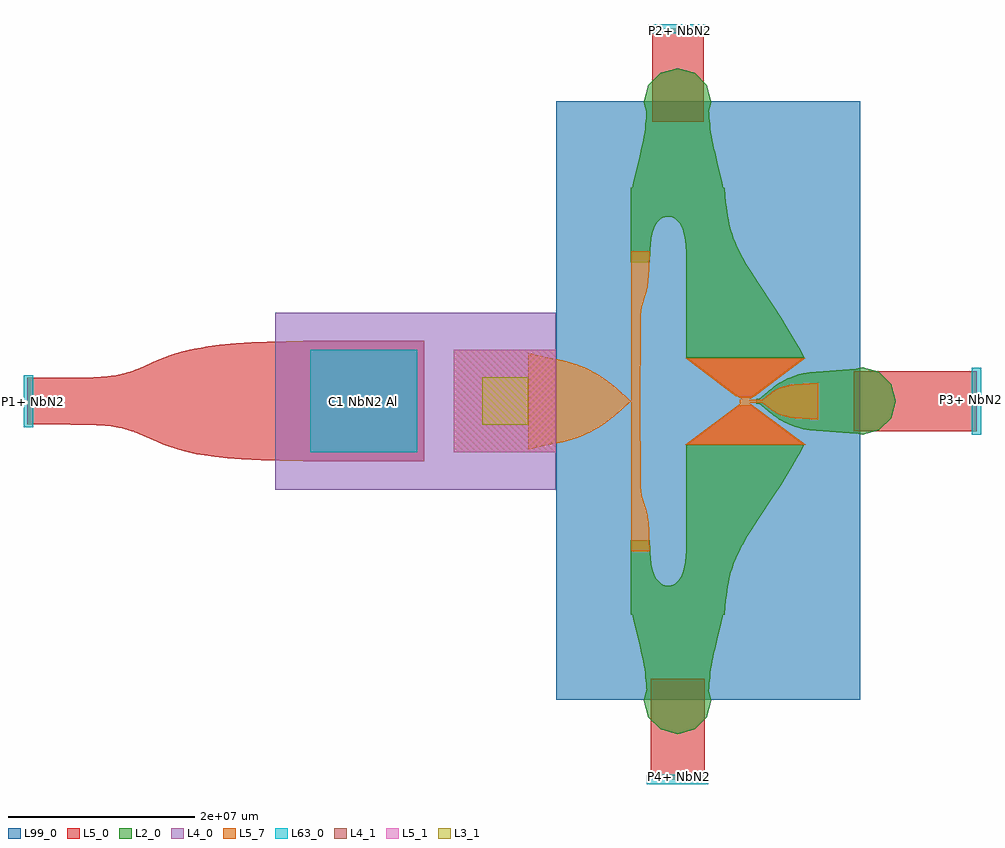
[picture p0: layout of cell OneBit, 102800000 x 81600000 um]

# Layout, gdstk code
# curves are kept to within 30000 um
from math import pi, radians
import gdstk
lib = gdstk.Library(unit=1e-6, precision=1e-06)
def R(c, l, rs):  # rectangles x0, y0, x1, y1
    for r in rs: c.add(gdstk.rectangle(r[:2], r[2:], *l))
def P(c, l, *ps):  # polygons
    for p in ps: c.add(gdstk.Polygon(p, *l))
L2_0 = (2, 0)
L3_1 = (3, 1)
L4_0 = (4, 0)
L4_1 = (4, 1)
L5_0 = (5, 0)
L5_1 = (5, 1)
L5_7 = (5, 7)
L63_0 = (63, 0)
L99_0 = (99, 0)

optimal_step_2_1 = lib.new_cell('Optimal$Step$2$1')
P(optimal_step_2_1, L2_0, [(0,0),(18257000,0),(18257000,12677000),(16784000,11874000),(14878000,10745000),(8248000,6462000),(6502000,5530000),(4957000,4919000),(3477000,4535000),(2104000,4316000),(0,4136000)])

opt_deg_turn_1 = lib.new_cell('opt_deg_turn_1')
P(opt_deg_turn_1, L2_0, [(-4000000,-4000000),(-1972000,-4000000),(-1919000,-2622000),(-1829000,-1681000),(-1703000,-983000),(-1487000,-309000),(-1127000,301000),(-782000,626000),(-355000,832000),(80000,880000),(541000,764000),(936000,502000),(1244000,143000),(1559000,-492000),(1745000,-1176000),(1854000,-1876000),(1972000,-4000000),(4000000,-4000000),(4000000,4000000),(-4000000,4000000)])

circle = lib.new_cell('circle')
P(circle, L2_0, [(3623000,0),(3138000,1811000),(1812000,3138000),(0,3623000),(-1811000,3138000),(-3138000,1811000),(-3623000,0),(-3138000,-1812000),(-1812000,-3138000),(0,-3623000),(1812000,-3138000),(3138000,-1812000)])

opt_17 = lib.new_cell('opt_17')
P(opt_17, L2_0, [(8785000,-4875000),(8785000,4875000),(7500000,4629000),(4493000,3892000),(3197000,3632000),(1907000,3463000),(0,3331000),(0,-3331000),(1907000,-3463000),(3197000,-3632000),(4493000,-3892000),(7074000,-4534000)])

optimal_step_4_1 = lib.new_cell('Optimal$Step$4$1')
P(optimal_step_4_1, L2_0, [(10750000,-3500000),(10750000,3500000),(5761000,3129000),(4563000,2868000),(3600000,2536000),(2737000,2106000),(1917000,1557000),(567000,447000),(393000,343000),(0,259000),(0,-259000),(393000,-343000),(567000,-447000),(1917000,-1557000),(2737000,-2106000),(3378000,-2438000),(4175000,-2750000),(5063000,-2994000),(5761000,-3129000)])

ntron_1 = lib.new_cell('ntron_1')
P(ntron_1, L5_7, [(-5200000,-11060000),(5200000,-11060000),(4661000,-8830000),(4384000,-7368000),(4136000,-6428000),(3515000,-4772000),(2903000,-3623000),(2290000,-2702000),(1457000,-1652000),(92000,-151000),(28000,0),(-28000,0),(-92000,-151000),(-1457000,-1652000),(-2290000,-2702000),(-2903000,-3623000),(-3515000,-4772000),(-4136000,-6428000),(-4384000,-7368000),(-4661000,-8830000)],
  [(0,0),(16090000,0),(16090000,1988000),(13778000,1925000),(12693000,1825000),(11849000,1670000),(10105000,1156000),(9308000,1047000),(0,1000000)],
  [(-16090000,0),(0,0),(0,1000000),(-7690000,1004000),(-9359000,1051000),(-10105000,1156000),(-11849000,1670000),(-12693000,1825000),(-14243000,1948000),(-16090000,1988000)])
ntron_1.add(gdstk.Label('ntron_1', (10,-4536000), layer=64, texttype=0))

ntron_cshe = lib.new_cell('ntron_CSHE')
R(ntron_cshe, L5_7, [(-350000,-350000,350000,350000)])
P(ntron_cshe, L5_7, [(-525000,515000),(575000,515000),(4025000,3865000),(-3975000,3865000)],
  [(-3975000,-3815000),(4025000,-3815000),(575000,-465000),(-525000,-465000)],
  [(-6500000,-4700000),(6434000,-4700000),(472000,-237000),(319000,-200000),(-385000,-200000),(-538000,-237000)],
  [(-334000,200000),(334000,200000),(531000,276000),(6400000,4600000),(-6400000,4600000),(-479000,237000)],
  [(-1000000,-750000),(1000000,-750000),(800000,-500000),(400000,-400000),(-400000,-400000),(-800000,-500000)],
  [(-400000,400000),(400000,400000),(800000,500000),(1000000,750000),(-1000000,750000),(-800000,500000)],
  [(-5833000,-4375000),(5833000,-4375000),(1000000,-750000),(-1000000,-750000)],
  [(-1072000,550000),(1005000,550000),(6333000,4600000),(-6400000,4600000)],
  [(7783000,-2004000),(7783000,1996000),(5269000,1833000),(4187000,1618000),(3685000,1440000),(3215000,1207000),(1852000,194000),(1454000,147000),(-617000,146000),(-617000,-154000),(1454000,-155000),(1852000,-202000),(3215000,-1215000),(3685000,-1448000),(4438000,-1693000),(5269000,-1841000)])
ntron_cshe.add(gdstk.Label('ntron_CSHE', (641510,-50000), layer=64, texttype=0))

cshe_device = lib.new_cell('CSHE_device')
P(cshe_device, L5_0, [(-6365000,-4685000),(6315000,-4685000),(6315000,-4679000),(663000,-440000),(-723000,-440000),(-6365000,-4672000)],
  [(-723000,450000),(663000,450000),(6315000,4689000),(6315000,4695000),(-6365000,4695000),(-6365000,4682000)])
R(cshe_device, L99_0, [(-20355000,-32080000,12290000,32200000)])
cshe_device.add(gdstk.Reference(optimal_step_2_1, (-6365000,-22935000), rotation=pi/2, x_reflection=True))
cshe_device.add(gdstk.Reference(optimal_step_2_1, (-6365000,22945000), rotation=3*pi/2))
cshe_device.add(gdstk.Reference(opt_deg_turn_1, (-8315000,-18935000), x_reflection=True))
cshe_device.add(gdstk.Reference(opt_deg_turn_1, (-8315000,18945000)))
cshe_device.add(gdstk.Reference(circle, (-7290000,-32110000), x_reflection=True))
cshe_device.add(gdstk.Reference(circle, (-7290000,32120000)))
cshe_device.add(gdstk.Reference(opt_17, (-7284000,-31541000), rotation=pi/2))
cshe_device.add(gdstk.Reference(circle, (12505000,0)))
cshe_device.add(gdstk.Reference(optimal_step_4_1, (1128000,0)))
cshe_device.add(gdstk.Reference(opt_17, (-7284000,31651000), rotation=3*pi/2, x_reflection=True))
cshe_device.add(gdstk.Reference(ntron_1, (-12286000,0), rotation=3*pi/2))
cshe_device.add(gdstk.Reference(ntron_cshe, (0,0)))

via_nbn2_al = lib.new_cell('via_NbN2_Al')
R(via_nbn2_al, L3_1, [(-2407000,-2511000,2562000,2568000)])
R(via_nbn2_al, L4_1, [(-5440000,-5507000,5522000,5527000)])
R(via_nbn2_al, L5_1, [(-5440000,-5507000,5522000,5527000)])
via_nbn2_al.add(gdstk.Label('via_NbN2_Al', (41010,10000), layer=64, texttype=0))

optimal_step_1_1 = lib.new_cell('Optimal$Step$1$1')
P(optimal_step_1_1, L5_0, [(29709000,-6448000),(29709000,6448000),(25761000,6366000),(22406000,6198000),(20664000,6041000),(18648000,5758000),(17202000,5458000),(15841000,5078000),(14665000,4663000),(11236000,3225000),(10197000,2916000),(8990000,2702000),(7923000,2604000),(5673000,2525000),(0,2500000),(0,-2500000),(4653000,-2513000),(7465000,-2578000),(8990000,-2702000),(9837000,-2837000),(10899000,-3111000),(12061000,-3548000),(13946000,-4372000),(15309000,-4900000),(16879000,-5377000),(18214000,-5678000),(20124000,-5978000),(23049000,-6242000),(25131000,-6344000)])

capacitor = lib.new_cell('Capacitor')
R(capacitor, L4_0, [(-1741000,-9493000,28381000,9492000)])
R(capacitor, L5_0, [(1248000,-6458000,14248000,6495000)])
R(capacitor, L63_0, [(2000000,-5500000,13500000,5500000)])
capacitor.add(gdstk.Reference(via_nbn2_al, (22859000,0)))
capacitor.add(gdstk.Reference(optimal_step_1_1, (-28381000,8000)))

onebit = lib.new_cell('OneBit')
R(onebit, L5_0, [(-10200000,-40600000,-4400000,-29800000), (11600000,-3200000,24800000,3200000), (-10000000,30000000,-4500000,40000000)])
R(onebit, L63_0, [(-10600000,-41100000,-4000000,-40100000), (24300000,-3600000,25300000,3600000), (-77500000,-2800000,-76500000,2800000), (-10400000,39500000,-4200000,40500000)])
onebit.add(gdstk.Reference(cshe_device, (0,0)))
onebit.add(gdstk.Reference(capacitor, (-48738000,0)))
onebit.add(gdstk.Label('P4+ NbN2', (-7100000,-40300000), layer=64, texttype=0))
onebit.add(gdstk.Label('P3+ NbN2', (24500000,200000), layer=64, texttype=0))
onebit.add(gdstk.Label('P2+ NbN2', (-7000000,39800000), layer=64, texttype=0))
onebit.add(gdstk.Label('P1+ NbN2', (-76800000,0), layer=64, texttype=0))
onebit.add(gdstk.Label('C1 NbN2 Al', (-41000000,0), layer=64, texttype=0))

lib.write_gds('OneBit.gds')
